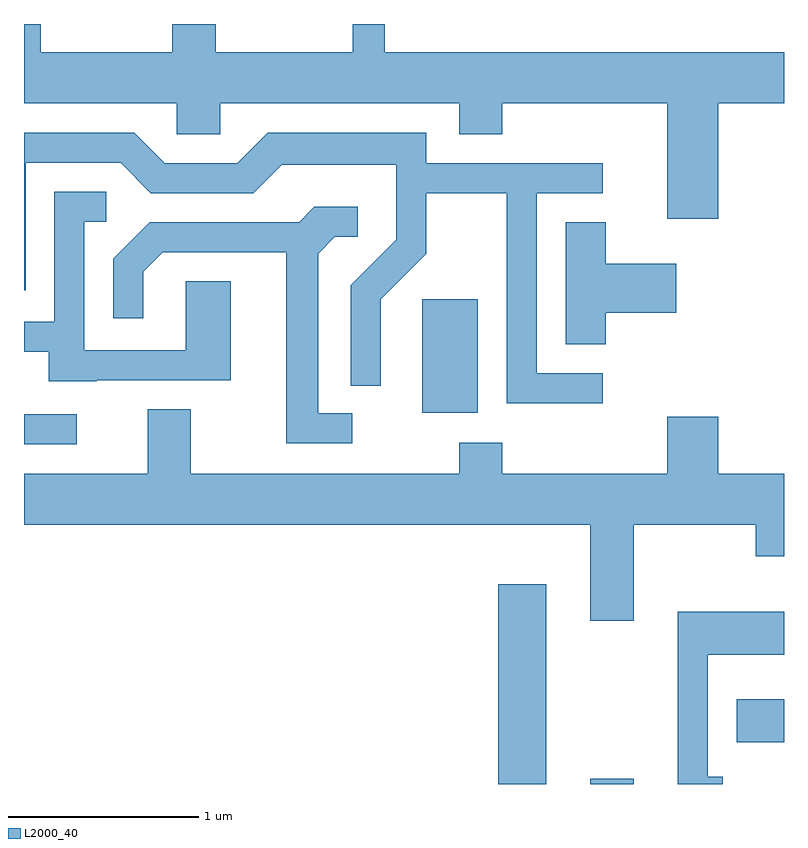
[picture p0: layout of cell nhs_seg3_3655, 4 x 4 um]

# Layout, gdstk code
import gdstk
lib = gdstk.Library(unit=1e-6, precision=1e-09)
def R(c, l, rs):  # rectangles x0, y0, x1, y1
    for r in rs: c.add(gdstk.rectangle(r[:2], r[2:], *l))
def P(c, l, *ps):  # polygons
    for p in ps: c.add(gdstk.Polygon(p, *l))
L2000_40 = (2000, 40)

nhs_seg3_3655 = lib.new_cell('nhs_seg3_3655')
R(nhs_seg3_3655, L2000_40, [(294.106,1217.892,294.359,1218.944), (294.591,1217.892,294.819,1217.919), (295.361,1218.111,295.611,1218.339), (291.611,1219.681,291.888,1219.839), (293.706,1219.846,293.999,1220.444)])
P(nhs_seg3_3655, L2000_40, [(295.264,1221.476),(295.611,1221.476),(295.611,1221.744),(293.509,1221.744),(293.509,1221.892),(293.341,1221.892),(293.341,1221.744),(292.619,1221.744),(292.619,1221.892),(292.391,1221.892),(292.391,1221.744),(291.699,1221.744),(291.699,1221.892),(291.611,1221.892),(291.611,1221.476),(292.416,1221.476),(292.416,1221.311),(292.644,1221.311),(292.644,1221.476),(293.901,1221.476),(293.901,1221.311),(294.129,1221.311),(294.129,1221.476),(294.996,1221.476),(294.996,1220.866),(295.264,1220.866)],
  [(294.658,1220.054),(294.309,1220.054),(294.309,1221.001),(294.658,1221.001),(294.658,1221.159),(293.729,1221.159),(293.729,1221.319),(292.894,1221.319),(292.734,1221.159),(292.352,1221.159),(292.192,1221.319),(291.611,1221.319),(291.611,1220.491),(291.619,1220.491),(291.619,1221.161),(292.119,1221.161),(292.279,1221.001),(292.817,1221.001),(292.967,1221.151),(293.571,1221.151),(293.571,1220.757),(293.331,1220.517),(293.331,1219.988),(293.489,1219.988),(293.489,1220.444),(293.729,1220.684),(293.729,1221.001),(294.151,1221.001),(294.151,1219.896),(294.658,1219.896)],
  [(291.995,1220.016),(292.699,1220.016),(292.699,1220.539),(292.461,1220.539),(292.461,1220.174),(291.929,1220.174),(291.929,1220.851),(292.043,1220.851),(292.043,1221.009),(291.771,1221.009),(291.771,1220.324),(291.611,1220.324),(291.611,1220.166),(291.741,1220.166),(291.741,1220.011),(291.995,1220.011)],
  [(293.338,1219.844),(293.159,1219.844),(293.159,1220.684),(293.247,1220.771),(293.368,1220.771),(293.368,1220.929),(293.139,1220.929),(293.059,1220.849),(292.274,1220.849),(292.081,1220.657),(292.081,1220.343),(292.239,1220.343),(292.239,1220.589),(292.342,1220.691),(292.991,1220.691),(292.991,1219.686),(293.338,1219.686)],
  [(294.674,1220.371),(295.044,1220.371),(295.044,1220.629),(294.674,1220.629),(294.674,1220.849),(294.461,1220.849),(294.461,1220.206),(294.674,1220.206)],
  [(294.591,1218.751),(294.819,1218.751),(294.819,1219.256),(295.461,1219.256),(295.461,1219.091),(295.611,1219.091),(295.611,1219.524),(295.264,1219.524),(295.264,1219.824),(294.996,1219.824),(294.996,1219.524),(294.129,1219.524),(294.129,1219.689),(293.901,1219.689),(293.901,1219.524),(292.489,1219.524),(292.489,1219.864),(292.261,1219.864),(292.261,1219.524),(291.611,1219.524),(291.611,1219.256),(294.591,1219.256)],
  [(295.288,1217.929),(295.209,1217.929),(295.209,1218.571),(295.611,1218.571),(295.611,1218.799),(295.051,1218.799),(295.051,1217.892),(295.288,1217.892)])

lib.write_gds('nhs_seg3_3655.gds')
